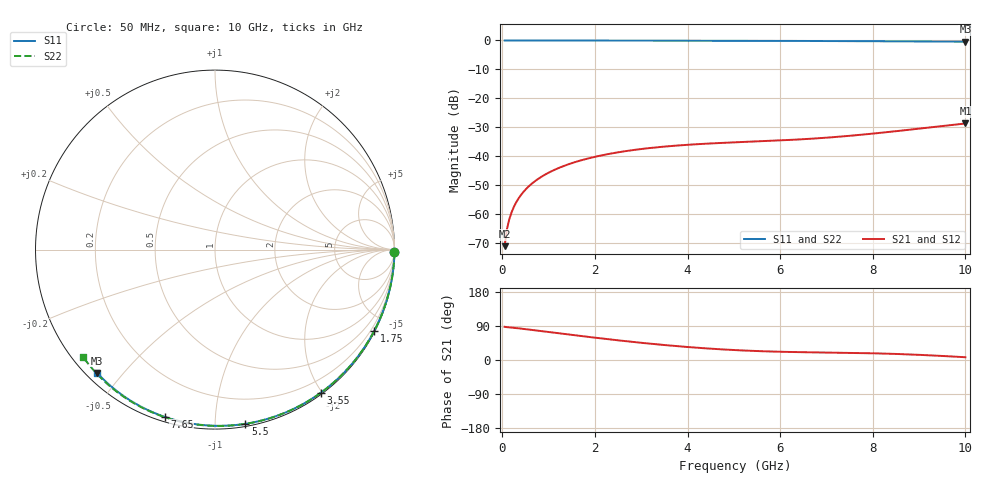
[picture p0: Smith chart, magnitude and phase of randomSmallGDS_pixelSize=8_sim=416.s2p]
! freq	dB(S11)	phase(S11)	dB(S12)	phase(S12)
!  dB(S21)	phase(S21)	dB(S22)	phase(S22)
!S-par simulation data
#  GHz  S  DB  R 50
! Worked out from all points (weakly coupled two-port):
!   200 points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, 50 MHz to 10 GHz, reference 50 ohm
!   highest |S21| = -28.76 dB at 10 GHz (marker M1); lowest = -71.3 dB at 50 MHz (marker M2)
!   lowest |S11| = -0.4 dB at 10 GHz (marker M3), VSWR 39.28, Z = 1.5 - j21.3 ohm
!   |S11| at or under -10 dB: nowhere
!   |S22| runs from -0.5 to 0.0 dB; largest |S21 - S12| = 0
!   S11 on the Smith chart (normalised r, x): 50 MHz: open; 1.75 GHz: 0.04, -4.15; 3.55 GHz: 0.02, -1.98; 5.5 GHz: 0.02, -1.19; 7.65 GHz: 0.02, -0.74; 10 GHz: 0.03, -0.43
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0.05  -0.00 -0.8  -71.26 87.6  -71.26 87.6  -0.00 -0.8
0.1  -0.00 -1.6  -65.42 86.7  -65.42 86.7  -0.00 -1.7
0.15  -0.00 -2.4  -62.00 86.1  -62.00 86.1  -0.00 -2.5
0.2  -0.00 -3.1  -59.55 85.6  -59.55 85.6  -0.00 -3.3
0.25  -0.00 -3.9  -57.64 84.9  -57.64 84.9  -0.00 -4.1
0.35  -0.00 -5.5  -54.75 83.6  -54.75 83.6  -0.00 -5.8
0.5  -0.01 -7.9  -51.69 81.5  -51.69 81.5  -0.01 -8.3
0.7  -0.01 -11.0  -48.81 78.4  -48.81 78.4  -0.01 -11.6
1  -0.02 -15.6  -45.81 73.9  -45.81 73.9  -0.02 -16.4
1.35  -0.03 -21.0  -43.35 68.5  -43.35 68.5  -0.03 -22.1
1.75  -0.03 -27.1  -41.31 62.6  -41.31 62.6  -0.04 -28.5
2.5  -0.05 -38.3  -38.75 51.9  -38.75 51.9  -0.05 -40.4
3.4  -0.07 -51.4  -36.92 40.6  -36.92 40.6  -0.07 -54.1
3.55  -0.07 -53.6  -36.70 39.0  -36.70 39.0  -0.08 -56.4
4.3  -0.09 -64.1  -35.85 31.5  -35.85 31.5  -0.10 -67.4
5.05  -0.11 -74.2  -35.27 26.0  -35.27 26.0  -0.12 -78.0
5.5  -0.13 -80.1  -34.97 23.6  -34.97 23.6  -0.14 -84.2
6.7  -0.18 -95.3  -34.01 20.2  -34.01 20.2  -0.19 -100.2
7.65  -0.24 -106.8  -32.82 18.6  -32.82 18.6  -0.25 -112.2
8.35  -0.29 -115.0  -31.69 16.6  -31.69 16.6  -0.31 -120.9
9.2  -0.36 -124.7  -30.19 12.5  -30.19 12.5  -0.38 -131.3
10  -0.44 -133.7  -28.76 7.3  -28.76 7.3  -0.47 -141.0
